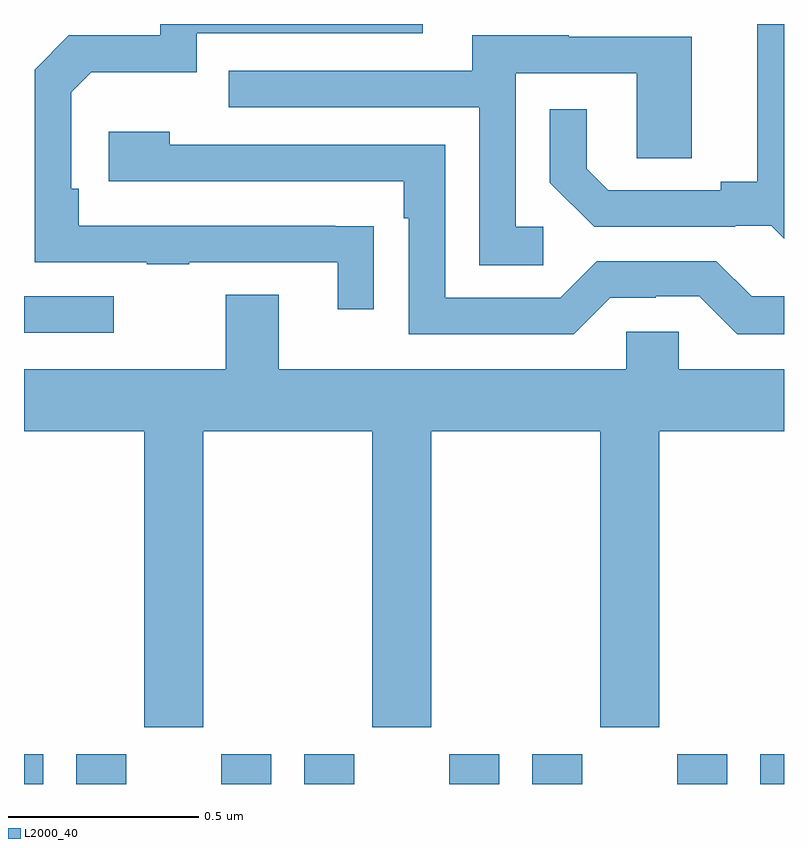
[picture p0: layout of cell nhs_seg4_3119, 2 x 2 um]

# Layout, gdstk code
import gdstk
lib = gdstk.Library(unit=1e-6, precision=1e-09)
def R(c, l, rs):  # rectangles x0, y0, x1, y1
    for r in rs: c.add(gdstk.rectangle(r[:2], r[2:], *l))
def P(c, l, *ps):  # polygons
    for p in ps: c.add(gdstk.Polygon(p, *l))
L2000_40 = (2000, 40)

nhs_seg4_3119 = lib.new_cell('nhs_seg4_3119')
R(nhs_seg4_3119, L2000_40, [(149,787.9,149.05,787.978), (149.138,787.9,149.269,787.978), (149.519,787.9,149.65,787.978), (149.738,787.9,149.869,787.978), (150.119,787.9,150.25,787.978), (150.338,787.9,150.469,787.978), (150.719,787.9,150.85,787.978), (150.938,787.9,151,787.978), (149,789.087,149.236,789.183)])
P(nhs_seg4_3119, L2000_40, [(149.921,789.368),(149.819,789.368),(149.819,789.369),(149.144,789.369),(149.144,789.466),(149.124,789.466),(149.124,789.72),(149.177,789.773),(149.454,789.773),(149.454,789.876),(150.049,789.876),(150.049,789.9),(149.358,789.9),(149.358,789.87),(149.118,789.87),(149.028,789.78),(149.028,789.273),(149.323,789.273),(149.323,789.268),(149.435,789.268),(149.435,789.273),(149.825,789.273),(149.825,789.15),(149.921,789.15)],
  [(151,789.9),(150.929,789.9),(150.929,789.485),(150.833,789.485),(150.833,789.462),(150.538,789.462),(150.481,789.519),(150.481,789.676),(150.384,789.676),(150.384,789.482),(150.5,789.366),(150.872,789.366),(150.872,789.369),(150.966,789.369),(151,789.335)],
  [(150.367,789.366),(150.294,789.366),(150.294,789.771),(150.612,789.771),(150.612,789.547),(150.757,789.547),(150.757,789.867),(150.433,789.867),(150.433,789.871),(150.179,789.871),(150.179,789.777),(149.539,789.777),(149.539,789.681),(150.198,789.681),(150.198,789.265),(150.367,789.265)],
  [(151,789.183),(150.915,789.183),(150.822,789.276),(150.507,789.276),(150.411,789.18),(150.108,789.18),(150.108,789.582),(149.384,789.582),(149.384,789.616),(149.223,789.616),(149.223,789.486),(149.999,789.486),(149.999,789.389),(150.012,789.389),(150.012,789.084),(150.447,789.084),(150.543,789.18),(150.662,789.18),(150.662,789.183),(150.777,789.183),(150.877,789.083),(151,789.083)],
  [(149.472,788.828),(149.917,788.828),(149.917,788.049),(150.072,788.049),(150.072,788.828),(150.517,788.828),(150.517,788.049),(150.672,788.049),(150.672,788.828),(151,788.828),(151,788.992),(150.723,788.992),(150.723,789.09),(150.585,789.09),(150.585,788.992),(149.671,788.992),(149.671,789.187),(149.531,789.187),(149.531,788.992),(149,788.992),(149,788.828),(149.317,788.828),(149.317,788.049),(149.472,788.049)])

lib.write_gds('nhs_seg4_3119.gds')
